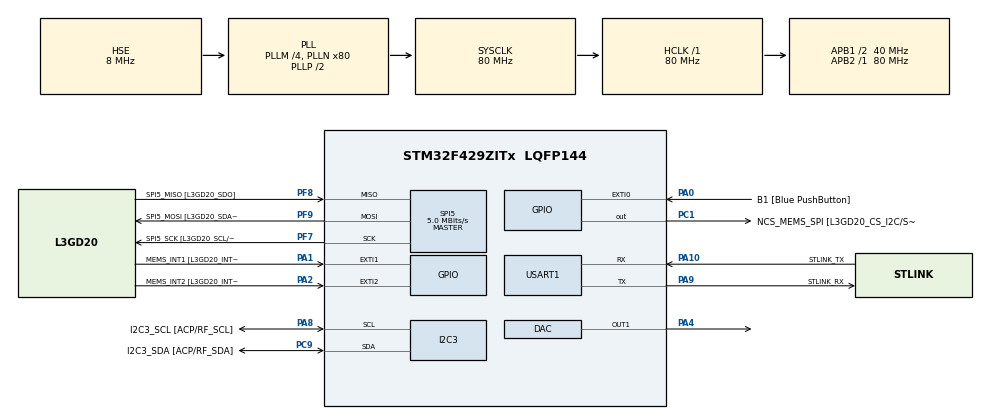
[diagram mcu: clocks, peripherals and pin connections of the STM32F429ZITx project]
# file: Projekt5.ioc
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DAC.DAC_Trigger=DAC_TRIGGER_T7_TRGO
Dma.DAC1.0.Direction=DMA_MEMORY_TO_PERIPH
Dma.DAC1.0.FIFOMode=DMA_FIFOMODE_DISABLE
Dma.DAC1.0.Instance=DMA1_Stream5
Dma.DAC1.0.MemDataAlignment=DMA_MDATAALIGN_HALFWORD
Dma.DAC1.0.MemInc=DMA_MINC_ENABLE
Dma.DAC1.0.Mode=DMA_CIRCULAR
Dma.DAC1.0.PeriphDataAlignment=DMA_PDATAALIGN_HALFWORD
Dma.DAC1.0.PeriphInc=DMA_PINC_DISABLE
Dma.DAC1.0.Priority=DMA_PRIORITY_LOW
Dma.Request0=DAC1
Mcu.Family=STM32F4
Mcu.Name=STM32F429ZITx
Mcu.Package=LQFP144
NVIC.DMA1_Stream5_IRQn=true\:0\:0\:false\:false\:true\:false\:true
NVIC.PriorityGroup=NVIC_PRIORITYGROUP_4
NVIC.TIM6_DAC_IRQn=true\:0\:0\:false\:false\:true\:false\:true
NVIC.TimeBase=TIM6_DAC_IRQn
NVIC.TimeBaseIP=TIM6
NVIC.USART1_IRQn=true\:0\:0\:false\:false\:true\:true\:true
PA0/WKUP.GPIO_Label=B1 [Blue PushButton]
PA0/WKUP.GPIO_ModeDefaultEXTI=GPIO_MODE_EVT_RISING
PA0/WKUP.GPIO_PuPd=GPIO_NOPULL
PA0/WKUP.Signal=GPXTI0
PA1.GPIO_Label=MEMS_INT1 [L3GD20_INT1]
PA1.GPIO_ModeDefaultEXTI=GPIO_MODE_EVT_RISING
PA1.GPIO_PuPd=GPIO_NOPULL
PA1.Signal=GPXTI1
PA10.GPIO_Label=STLINK_TX
PA10.Mode=Asynchronous
PA10.Signal=USART1_RX
PA13.GPIO_Label=SWDIO
PA13.Mode=Serial_Wire
PA13.Signal=SYS_JTMS-SWDIO
PA14.GPIO_Label=SWCLK
PA14.Mode=Serial_Wire
PA14.Signal=SYS_JTCK-SWCLK
PA2.GPIO_Label=MEMS_INT2 [L3GD20_INT2]
PA2.GPIO_ModeDefaultEXTI=GPIO_MODE_EVT_RISING
PA2.GPIO_PuPd=GPIO_NOPULL
PA2.Signal=GPXTI2
PA4.Signal=COMP_DAC1_group
PA8.GPIO_Label=I2C3_SCL [ACP/RF_SCL]
PA8.GPIO_Mode=GPIO_MODE_AF_OD
PA8.GPIO_PuPd=GPIO_NOPULL
PA8.GPIO_Speed=GPIO_SPEED_FREQ_LOW
PA8.Mode=I2C
PA8.Signal=I2C3_SCL
PA9.GPIO_Label=STLINK_RX
PA9.Mode=Asynchronous
PA9.Signal=USART1_TX
PC1.GPIO_Label=NCS_MEMS_SPI [L3GD20_CS_I2C/SPI]
PC1.GPIO_Mode=GPIO_MODE_OUTPUT_PP
PC1.GPIO_PuPd=GPIO_NOPULL
PC1.GPIO_Speed=GPIO_SPEED_FREQ_LOW
PC1.Signal=GPIO_Output
PC9.GPIO_Label=I2C3_SDA [ACP/RF_SDA]
PC9.GPIO_Mode=GPIO_MODE_AF_OD
PC9.GPIO_PuPd=GPIO_NOPULL
PC9.GPIO_Speed=GPIO_SPEED_FREQ_LOW
PC9.Mode=I2C
PC9.Signal=I2C3_SDA
PF7.GPIO_Label=SPI5_SCK [L3GD20_SCL/SPC]
PF7.GPIO_Mode=GPIO_MODE_AF_PP
PF7.GPIO_PuPd=GPIO_NOPULL
PF7.GPIO_Speed=GPIO_SPEED_FREQ_LOW
PF7.Mode=Full_Duplex_Master
PF7.Signal=SPI5_SCK
PF8.GPIO_Label=SPI5_MISO [L3GD20_SDO]
PF8.GPIO_Mode=GPIO_MODE_AF_PP
PF8.GPIO_PuPd=GPIO_NOPULL
PF8.GPIO_Speed=GPIO_SPEED_FREQ_LOW
PF8.Mode=Full_Duplex_Master
PF8.Signal=SPI5_MISO
PF9.GPIO_Label=SPI5_MOSI [L3GD20_SDA/SDI/SDO]
PF9.GPIO_Mode=GPIO_MODE_AF_PP
PF9.GPIO_PuPd=GPIO_NOPULL
PF9.GPIO_Speed=GPIO_SPEED_FREQ_LOW
PF9.Mode=Full_Duplex_Master
PF9.Signal=SPI5_MOSI
PH0/OSC_IN.GPIO_Label=PH0-OSC_IN
PH0/OSC_IN.Mode=HSE-External-Oscillator
PH0/OSC_IN.Signal=RCC_OSC_IN
PH1/OSC_OUT.GPIO_Label=PH1-OSC_OUT
PH1/OSC_OUT.Mode=HSE-External-Oscillator
PH1/OSC_OUT.Signal=RCC_OSC_OUT
ProjectManager.HeapSize=0x200
ProjectManager.StackSize=0x400
ProjectManager.TargetToolchain=STM32CubeIDE
RCC.48MHZClocksFreq_Value=53333333.333333336
RCC.AHBFreq_Value=80000000
RCC.APB1CLKDivider=RCC_HCLK_DIV2
RCC.APB1Freq_Value=40000000
RCC.APB1TimFreq_Value=80000000
RCC.APB2Freq_Value=80000000
RCC.APB2TimFreq_Value=80000000
RCC.CortexFreq_Value=80000000
RCC.HCLKFreq_Value=80000000
RCC.HSE_VALUE=8000000
RCC.HSI_VALUE=16000000
RCC.LSE_VALUE=32768
RCC.PLLM=4
RCC.PLLN=80
RCC.PLLQ=3
RCC.PLLSAIN=50
RCC.PLLSourceVirtual=RCC_PLLSOURCE_HSE
RCC.SYSCLKFreq_VALUE=80000000
RCC.SYSCLKSource=RCC_SYSCLKSOURCE_PLLCLK
RCC.VCOOutputFreq_Value=160000000
SH.COMP_DAC1_group.0=DAC_OUT1,DAC_OUT1
SPI5.BaudRatePrescaler=SPI_BAUDRATEPRESCALER_16
SPI5.CalculateBaudRate=5.0 MBits/s
SPI5.Direction=SPI_DIRECTION_2LINES
SPI5.Mode=SPI_MODE_MASTER
SPI5.VirtualType=VM_MASTER
TIM7.Period=19
TIM7.Prescaler=399
TIM7.TIM_MasterOutputTrigger=TIM_TRGO_UPDATE
USART1.VirtualMode=VM_ASYNC
VP_SYS_VS_tim6.Mode=TIM6
VP_TIM7_VS_ClockSourceINT.Mode=Enable_Timer
board=STM32F429I-DISC1

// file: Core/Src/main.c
/* USER CODE BEGIN Header */
/**
  ******************************************************************************
  * @file           : main.c
  * @brief          : Main program body
  ******************************************************************************
  * @attention
  *
  * <h2><center>&copy; Copyright (c) 2021 STMicroelectronics.
  * All rights reserved.</center></h2>
  *
  * This software component is licensed by ST under Ultimate Liberty license
  * SLA0044, the "License"; You may not use this file except in compliance with
  * the License. You may obtain a copy of the License at:
  *                             www.st.com/SLA0044
  *
  ******************************************************************************
  */
/* USER CODE END Header */
#include "main.h"

/* USER CODE BEGIN Includes */
#include "math.h"
#include "stdlib.h"
#include "stdbool.h"
/* USER CODE END Includes */

/* USER CODE BEGIN PM */
#define SAMP_FREQ 16000
#define SAMP_FREQ_F 16000.0f
#define UPDATE_FREQ 100
#define BUFF_SIZ (2*SAMP_FREQ/UPDATE_FREQ)
/* USER CODE END PM */

DAC_HandleTypeDef hdac;
DMA_HandleTypeDef hdma_dac1;

I2C_HandleTypeDef hi2c3;

SPI_HandleTypeDef hspi5;

TIM_HandleTypeDef htim7;

UART_HandleTypeDef huart1;

void SystemClock_Config(void);
static void MX_GPIO_Init(void);
static void MX_DMA_Init(void);
static void MX_SPI5_Init(void);
static void MX_USART1_UART_Init(void);
static void MX_DAC_Init(void);
static void MX_TIM7_Init(void);
static void MX_I2C3_Init(void);

/* USER CODE BEGIN 0 */

bool is_ping_active = false;
bool is_pong_active = false;

volatile float pfData[3];

static uint16_t wave_table_dbuff[BUFF_SIZ]; // podwojny bufor
static float current_arg;
static const float dt = 1/SAMP_FREQ_F;

static float current_freq = 500;
static float goal_freq = 500;
int volume = 2047;

static const float step_freq = 5;

int _write(int file, char *ptr, int len)
{
	HAL_UART_Transmit(&huart1, ptr, len, 50);
	return len;
}

void process_buffor(size_t start_index, size_t end_index)
{
	BSP_GYRO_GetXYZ(pfData);
	int16_t pfData_16[3];
	for(int i = 0; i < 3; ++i)
	  {
		  pfData_16[i] = (int16_t)pfData[i];
	  }
	float freq = 1000*pfData_16[0]/32767;

	goal_freq = 1000.0f + freq;
	current_freq += (current_freq > goal_freq) ? -step_freq : +step_freq;

	float delta_arg = 2*M_PI*current_freq*dt;

	current_arg = fmod(current_arg, 2*M_PI); // sinf(duze warttosci kata) generuje duzy blad

	// zapelnianie drugiej czesci tablicy
	for(size_t i = start_index; i<end_index; i++)
	{
	  current_arg += delta_arg;

	  wave_table_dbuff[i] = (sinf(current_arg)/2+0.5)*volume;
	}
}

uint8_t rx_str[2];

/* USER CODE END 0 */

int main(void)
{

  /* MCU Configuration--------------------------------------------------------*/

  /* Reset of all peripherals, Initializes the Flash interface and the Systick. */
  HAL_Init();

  /* Configure the system clock */
  SystemClock_Config();

  /* Initialize all configured peripherals */
  MX_GPIO_Init();
  MX_DMA_Init();
  MX_SPI5_Init();
  MX_USART1_UART_Init();
  MX_DAC_Init();
  MX_TIM7_Init();
  MX_I2C3_Init();
  /* USER CODE BEGIN 2 */

  BSP_GYRO_Init();

  HAL_UART_Receive_IT(&huart1, rx_str, 1);

  HAL_DAC_Start_DMA(&hdac, DAC_CHANNEL_1, (uint32_t *)wave_table_dbuff, sizeof(wave_table_dbuff)/sizeof(wave_table_dbuff[0]), DAC_ALIGN_12B_R);

  HAL_TIM_Base_Start(&htim7);
  /* USER CODE END 2 */

  /* Infinite loop */
  while (1)
  {

    /* USER CODE BEGIN 3 */
	if(is_ping_active)
	{
		is_ping_active = false;
		//
		process_buffor(0, BUFF_SIZ/2);
	}
	else if(is_pong_active)
	{
		is_pong_active = false;

		process_buffor(BUFF_SIZ/2, BUFF_SIZ);
	}

  }
  /* USER CODE END 3 */
}

void SystemClock_Config(void)
{
  RCC_OscInitTypeDef RCC_OscInitStruct = {0};
  RCC_ClkInitTypeDef RCC_ClkInitStruct = {0};

  /** Configure the main internal regulator output voltage
  */
  __HAL_RCC_PWR_CLK_ENABLE();
  __HAL_PWR_VOLTAGESCALING_CONFIG(PWR_REGULATOR_VOLTAGE_SCALE3);
  /** Initializes the RCC Oscillators according to the specified parameters
  * in the RCC_OscInitTypeDef structure.
  */
  RCC_OscInitStruct.OscillatorType = RCC_OSCILLATORTYPE_HSE;
  RCC_OscInitStruct.HSEState = RCC_HSE_ON;
  RCC_OscInitStruct.PLL.PLLState = RCC_PLL_ON;
  RCC_OscInitStruct.PLL.PLLSource = RCC_PLLSOURCE_HSE;
  RCC_OscInitStruct.PLL.PLLM = 4;
  RCC_OscInitStruct.PLL.PLLN = 80;
  RCC_OscInitStruct.PLL.PLLP = RCC_PLLP_DIV2;
  RCC_OscInitStruct.PLL.PLLQ = 3;
  if (HAL_RCC_OscConfig(&RCC_OscInitStruct) != HAL_OK)
  {
    Error_Handler();
  }
  /** Initializes the CPU, AHB and APB buses clocks
  */
  RCC_ClkInitStruct.ClockType = RCC_CLOCKTYPE_HCLK|RCC_CLOCKTYPE_SYSCLK
                              |RCC_CLOCKTYPE_PCLK1|RCC_CLOCKTYPE_PCLK2;
  RCC_ClkInitStruct.SYSCLKSource = RCC_SYSCLKSOURCE_PLLCLK;
  RCC_ClkInitStruct.AHBCLKDivider = RCC_SYSCLK_DIV1;
  RCC_ClkInitStruct.APB1CLKDivider = RCC_HCLK_DIV2;
  RCC_ClkInitStruct.APB2CLKDivider = RCC_HCLK_DIV1;

  if (HAL_RCC_ClockConfig(&RCC_ClkInitStruct, FLASH_LATENCY_2) != HAL_OK)
  {
    Error_Handler();
  }
}

static void MX_DAC_Init(void)
{

  DAC_ChannelConfTypeDef sConfig = {0};

  /** DAC Initialization
  */
  hdac.Instance = DAC;
  if (HAL_DAC_Init(&hdac) != HAL_OK)
  {
    Error_Handler();
  }
  /** DAC channel OUT1 config
  */
  sConfig.DAC_Trigger = DAC_TRIGGER_T7_TRGO;
  sConfig.DAC_OutputBuffer = DAC_OUTPUTBUFFER_ENABLE;
  if (HAL_DAC_ConfigChannel(&hdac, &sConfig, DAC_CHANNEL_1) != HAL_OK)
  {
    Error_Handler();
  }

}

static void MX_I2C3_Init(void)
{

  hi2c3.Instance = I2C3;
  hi2c3.Init.ClockSpeed = 100000;
  hi2c3.Init.DutyCycle = I2C_DUTYCYCLE_2;
  hi2c3.Init.OwnAddress1 = 0;
  hi2c3.Init.AddressingMode = I2C_ADDRESSINGMODE_7BIT;
  hi2c3.Init.DualAddressMode = I2C_DUALADDRESS_DISABLE;
  hi2c3.Init.OwnAddress2 = 0;
  hi2c3.Init.GeneralCallMode = I2C_GENERALCALL_DISABLE;
  hi2c3.Init.NoStretchMode = I2C_NOSTRETCH_DISABLE;
  if (HAL_I2C_Init(&hi2c3) != HAL_OK)
  {
    Error_Handler();
  }
  /** Configure Analogue filter
  */
  if (HAL_I2CEx_ConfigAnalogFilter(&hi2c3, I2C_ANALOGFILTER_ENABLE) != HAL_OK)
  {
    Error_Handler();
  }
  /** Configure Digital filter
  */
  if (HAL_I2CEx_ConfigDigitalFilter(&hi2c3, 0) != HAL_OK)
  {
    Error_Handler();
  }

}

static void MX_SPI5_Init(void)
{

  /* SPI5 parameter configuration*/
  hspi5.Instance = SPI5;
  hspi5.Init.Mode = SPI_MODE_MASTER;
  hspi5.Init.Direction = SPI_DIRECTION_2LINES;
  hspi5.Init.DataSize = SPI_DATASIZE_8BIT;
  hspi5.Init.CLKPolarity = SPI_POLARITY_LOW;
  hspi5.Init.CLKPhase = SPI_PHASE_1EDGE;
  hspi5.Init.NSS = SPI_NSS_SOFT;
  hspi5.Init.BaudRatePrescaler = SPI_BAUDRATEPRESCALER_16;
  hspi5.Init.FirstBit = SPI_FIRSTBIT_MSB;
  hspi5.Init.TIMode = SPI_TIMODE_DISABLE;
  hspi5.Init.CRCCalculation = SPI_CRCCALCULATION_DISABLE;
  hspi5.Init.CRCPolynomial = 10;
  if (HAL_SPI_Init(&hspi5) != HAL_OK)
  {
    Error_Handler();
  }

}

static void MX_TIM7_Init(void)
{

  TIM_MasterConfigTypeDef sMasterConfig = {0};

  htim7.Instance = TIM7;
  htim7.Init.Prescaler = 399;
  htim7.Init.CounterMode = TIM_COUNTERMODE_UP;
  htim7.Init.Period = 19;
  htim7.Init.AutoReloadPreload = TIM_AUTORELOAD_PRELOAD_DISABLE;
  if (HAL_TIM_Base_Init(&htim7) != HAL_OK)
  {
    Error_Handler();
  }
  sMasterConfig.MasterOutputTrigger = TIM_TRGO_UPDATE;
  sMasterConfig.MasterSlaveMode = TIM_MASTERSLAVEMODE_DISABLE;
  if (HAL_TIMEx_MasterConfigSynchronization(&htim7, &sMasterConfig) != HAL_OK)
  {
    Error_Handler();
  }

}

static void MX_USART1_UART_Init(void)
{

  huart1.Instance = USART1;
  huart1.Init.BaudRate = 115200;
  huart1.Init.WordLength = UART_WORDLENGTH_8B;
  huart1.Init.StopBits = UART_STOPBITS_1;
  huart1.Init.Parity = UART_PARITY_NONE;
  huart1.Init.Mode = UART_MODE_TX_RX;
  huart1.Init.HwFlowCtl = UART_HWCONTROL_NONE;
  huart1.Init.OverSampling = UART_OVERSAMPLING_16;
  if (HAL_UART_Init(&huart1) != HAL_OK)
  {
    Error_Handler();
  }

}

static void MX_DMA_Init(void)
{

  /* DMA controller clock enable */
  __HAL_RCC_DMA1_CLK_ENABLE();

  /* DMA interrupt init */
  /* DMA1_Stream5_IRQn interrupt configuration */
  HAL_NVIC_SetPriority(DMA1_Stream5_IRQn, 0, 0);
  HAL_NVIC_EnableIRQ(DMA1_Stream5_IRQn);

}

static void MX_GPIO_Init(void)
{
  GPIO_InitTypeDef GPIO_InitStruct = {0};

  /* GPIO Ports Clock Enable */
  __HAL_RCC_GPIOF_CLK_ENABLE();
  __HAL_RCC_GPIOH_CLK_ENABLE();
  __HAL_RCC_GPIOC_CLK_ENABLE();
  __HAL_RCC_GPIOA_CLK_ENABLE();

  /*Configure GPIO pin Output Level */
  HAL_GPIO_WritePin(NCS_MEMS_SPI_GPIO_Port, NCS_MEMS_SPI_Pin, GPIO_PIN_RESET);

  /*Configure GPIO pin : NCS_MEMS_SPI_Pin */
  GPIO_InitStruct.Pin = NCS_MEMS_SPI_Pin;
  GPIO_InitStruct.Mode = GPIO_MODE_OUTPUT_PP;
  GPIO_InitStruct.Pull = GPIO_NOPULL;
  GPIO_InitStruct.Speed = GPIO_SPEED_FREQ_LOW;
  HAL_GPIO_Init(NCS_MEMS_SPI_GPIO_Port, &GPIO_InitStruct);

  /*Configure GPIO pins : B1_Pin MEMS_INT1_Pin MEMS_INT2_Pin */
  GPIO_InitStruct.Pin = B1_Pin|MEMS_INT1_Pin|MEMS_INT2_Pin;
  GPIO_InitStruct.Mode = GPIO_MODE_EVT_RISING;
  GPIO_InitStruct.Pull = GPIO_NOPULL;
  HAL_GPIO_Init(GPIOA, &GPIO_InitStruct);

}

/* USER CODE BEGIN 4 */

void HAL_UART_RxCpltCallback(UART_HandleTypeDef *huart)
{
    HAL_UART_Receive_IT(&huart1, rx_str, 1);

    float dv = (atoi(rx_str)-5)*409;
    volume = 2047 + dv;
}

void HAL_DAC_ConvCpltCallbackCh1(DAC_HandleTypeDef *hdac)
{
  /* Prevent unused argument(s) compilation warning */
  UNUSED(hdac);
  is_pong_active = true;

}

void HAL_DAC_ConvHalfCpltCallbackCh1(DAC_HandleTypeDef *hdac)
{
  /* Prevent unused argument(s) compilation warning */
  UNUSED(hdac);
  is_ping_active = true;
}
/* USER CODE END 4 */

void HAL_TIM_PeriodElapsedCallback(TIM_HandleTypeDef *htim)
{
  if (htim->Instance == TIM6) {
    HAL_IncTick();
  }
}

void Error_Handler(void)
{
}

/************************ (C) COPYRIGHT STMicroelectronics *****END OF FILE****/
